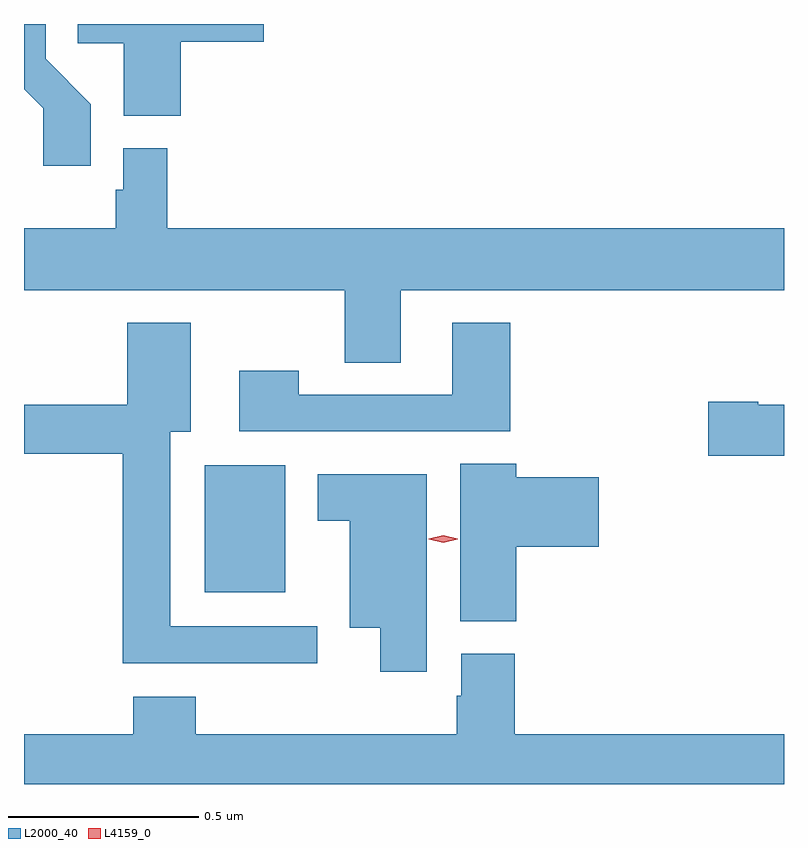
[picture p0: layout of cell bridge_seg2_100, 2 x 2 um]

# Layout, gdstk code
import gdstk
lib = gdstk.Library(unit=1e-6, precision=1e-09)
def R(c, l, rs):  # rectangles x0, y0, x1, y1
    for r in rs: c.add(gdstk.rectangle(r[:2], r[2:], *l))
def P(c, l, *ps):  # polygons
    for p in ps: c.add(gdstk.Polygon(p, *l))
L2000_40 = (2000, 40)
L4159_0 = (4159, 0)

bridge_seg2_100 = lib.new_cell('bridge_seg2_100')
R(bridge_seg2_100, L2000_40, [(589.142,656.165,589.354,656.5)])
P(bridge_seg2_100, L2000_40, [(589.079,657.614),(589.297,657.614),(589.297,657.661),(588.808,657.661),(588.808,657.61),(588.929,657.61),(588.929,657.419),(589.079,657.419)],
  [(588.842,657.45),(588.723,657.569),(588.723,657.661),(588.666,657.661),(588.666,657.489),(588.717,657.439),(588.717,657.288),(588.842,657.288)],
  [(589.657,656.96),(590.666,656.96),(590.666,657.124),(589.043,657.124),(589.043,657.334),(588.927,657.334),(588.927,657.225),(588.907,657.225),(588.907,657.124),(588.666,657.124),(588.666,656.96),(589.51,656.96),(589.51,656.77),(589.657,656.77)],
  [(589.438,656.076),(589.051,656.076),(589.051,656.588),(589.105,656.588),(589.105,656.875),(588.938,656.875),(588.938,656.659),(588.666,656.659),(588.666,656.53),(588.926,656.53),(588.926,655.979),(589.438,655.979)],
  [(589.946,656.875),(589.793,656.875),(589.793,656.685),(589.389,656.685),(589.389,656.749),(589.233,656.749),(589.233,656.589),(589.946,656.589)],
  [(590.666,656.659),(590.598,656.659),(590.598,656.667),(590.466,656.667),(590.466,656.525),(590.666,656.525)],
  [(589.961,656.285),(590.179,656.285),(590.179,656.468),(589.961,656.468),(589.961,656.504),(589.814,656.504),(589.814,656.089),(589.961,656.089)],
  [(589.726,656.476),(589.439,656.476),(589.439,656.354),(589.523,656.354),(589.523,656.072),(589.604,656.072),(589.604,655.956),(589.726,655.956)],
  [(590.666,655.792),(589.958,655.792),(589.958,656.004),(589.817,656.004),(589.817,655.893),(589.805,655.893),(589.805,655.792),(589.118,655.792),(589.118,655.891),(588.953,655.891),(588.953,655.792),(588.666,655.792),(588.666,655.661),(590.666,655.661)])
P(bridge_seg2_100, L4159_0, [(589.769,656.296),(589.731,656.305),(589.731,656.305),(589.731,656.306),(589.769,656.316),(589.807,656.306),(589.807,656.306),(589.807,656.305)])

lib.write_gds('bridge_seg2_100.gds')
